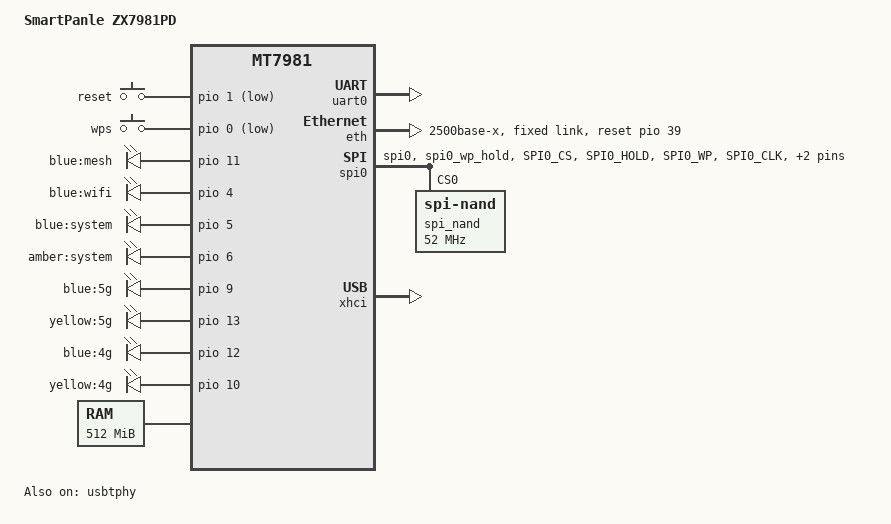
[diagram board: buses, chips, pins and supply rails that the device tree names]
// SPDX-License-Identifier: GPL-2.0-or-later OR MIT

/dts-v1/;
#include "mt7981.dtsi"
#include <dt-bindings/gpio/gpio.h>

/ {
	#address-cells = <1>;
	#size-cells = <1>;
	model = "SmartPanle ZX7981PD";
	compatible = "smartpanle,zx7981pd", "mediatek,mt7981";

	chosen {
		stdout-path = &uart0;
		tick-timer = &timer0;
	};

	config {
		/delete-property/ u-boot,mmc-env-partition;
		bootcmd = "mtkboardboot";
		blink_led = "amber:system";
		system_led = "amber:system";
	};

	mtd-layout {
		layout@0 {
			label = "default";
			mtdids = "nmbm0=nmbm0";
			mtdparts = "nmbm0:1024k(bl2),512k(u-boot-env),2048k(Factory),2048k(fip),640k(woem),114688k(ubi),384k(wtinfo),384k(nvram)";
			boot_part = "ubi";
			factory_part = "ubi";
			sysupgrade_kernel_ubipart = "ubi";
			sysupgrade_rootfs_ubipart = "ubi";
		};
	};

	gpio-keys {
		compatible = "gpio-keys";

		reset-button {
			label = "reset";
			linux,code = <KEY_RESTART>;
			gpios = <&pio 1 GPIO_ACTIVE_LOW>;
		};

		wps-button {
			label = "wps";
			linux,code = <KEY_WPS_BUTTON>;
			gpios = <&pio 0 GPIO_ACTIVE_LOW>;
		};
	};

	leds {
		compatible = "gpio-leds";

		mesh {
			label = "blue:mesh";
			gpios = <&pio 11 GPIO_ACTIVE_HIGH>;
			default-state = "off";
		};

		wifi {
			label = "blue:wifi";
			gpios = <&pio 4 GPIO_ACTIVE_HIGH>;
			default-state = "off";
		};

		system-blue {
			label = "blue:system";
			gpios = <&pio 5 GPIO_ACTIVE_HIGH>;
			default-state = "off";
		};

		system-amber {
			label = "amber:system";
			gpios = <&pio 6 GPIO_ACTIVE_HIGH>;
			default-state = "on";
		};

		wbh-5g-blue {
			label = "blue:5g";
			gpios = <&pio 9 GPIO_ACTIVE_HIGH>;
			default-state = "off";
		};

		wbh-5g-yellow {
			label = "yellow:5g";
			gpios = <&pio 13 GPIO_ACTIVE_HIGH>;
			default-state = "off";
		};

		wbh-4g-blue {
			label = "blue:4g";
			gpios = <&pio 12 GPIO_ACTIVE_HIGH>;
			default-state = "off";
		};

		wbh-4g-yellow {
			label = "yellow:4g";
			gpios = <&pio 10 GPIO_ACTIVE_HIGH>;
			default-state = "off";
		};
	};

	memory@40000000 {
		device_type = "memory";
		reg = <0x40000000 0x20000000>;
	};

	bl2_verify {
		bl2_compatible = "spim-nand";
	};
};

&uart0 {
	status = "okay";
};

&mmc0 {
	status = "disabled";
};

&eth {
	status = "okay";
	mediatek,gmac-id = <0>;
	phy-mode = "2500base-x";
	mediatek,switch = "auto";
	reset-gpios = <&pio 39 GPIO_ACTIVE_HIGH>;

	fixed-link {
		speed = <2500>;
		full-duplex;
	};
};

&pio {
	spi_flash_pins: spi0-pins-func-1 {
		mux {
			function = "flash";
			groups = "spi0", "spi0_wp_hold";
		};

		conf-pu {
			pins = "SPI0_CS", "SPI0_HOLD", "SPI0_WP";
			drive-strength = <MTK_DRIVE_4mA>;
			bias-pull-up = <MTK_PUPD_SET_R1R0_11>;
		};

		conf-pd {
			pins = "SPI0_CLK", "SPI0_MOSI", "SPI0_MISO";
			drive-strength = <MTK_DRIVE_4mA>;
			bias-pull-down = <MTK_PUPD_SET_R1R0_11>;
		};
	};
};

&spi0 {
	#address-cells = <1>;
	#size-cells = <0>;
	pinctrl-names = "default";
	pinctrl-0 = <&spi_flash_pins>;
	status = "okay";
	must_tx;
	enhance_timing;
	dma_ext;
	ipm_design;
	support_quad;
	tick_dly = <2>;
	sample_sel = <0>;

	spi_nand@0 {
		compatible = "spi-nand";
		reg = <0>;
		spi-max-frequency = <52000000>;
	};
};

&watchdog {
	status = "disabled";
};

&usbtphy {
	status = "okay";
};

&xhci {
	status = "okay";
};
